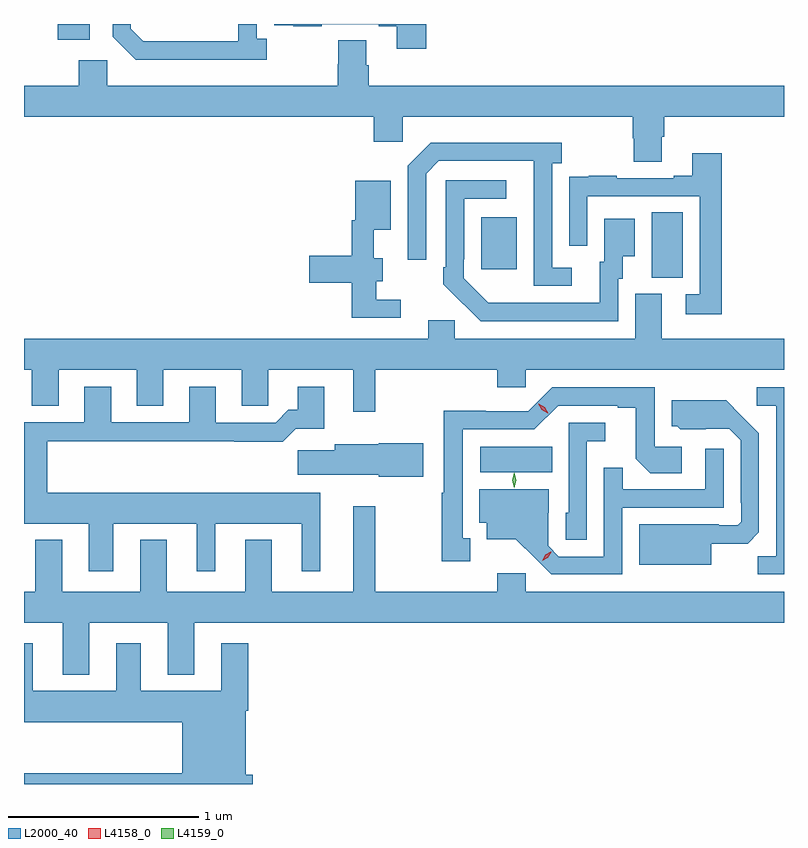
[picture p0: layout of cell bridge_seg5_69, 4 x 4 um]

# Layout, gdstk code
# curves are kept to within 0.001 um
import gdstk
lib = gdstk.Library(unit=1e-6, precision=1e-09)
def R(c, l, rs):  # rectangles x0, y0, x1, y1
    for r in rs: c.add(gdstk.rectangle(r[:2], r[2:], *l))
def P(c, l, *ps):  # polygons
    for p in ps: c.add(gdstk.Polygon(p, *l))
L2000_40 = (2000, 40)
L4158_0 = (4158, 0)
L4159_0 = (4159, 0)

bridge_seg5_69 = lib.new_cell('bridge_seg5_69')
R(bridge_seg5_69, L2000_40, [(144.258,904.172,144.638,904.306), (145.16,905.197,145.324,905.54), (144.263,905.241,144.451,905.515), (142.034,906.45,142.204,906.532)])
P(bridge_seg5_69, L2000_40, [(143.134,906.454),(143.082,906.454),(143.082,906.532),(142.985,906.532),(142.985,906.441),(142.485,906.441),(142.419,906.507),(142.419,906.532),(142.323,906.532),(142.323,906.465),(142.444,906.344),(143.134,906.344)],
  [(143.975,906.532),(143.173,906.532),(143.173,906.525),(143.275,906.525),(143.275,906.519),(143.423,906.519),(143.423,906.531),(143.723,906.531),(143.723,906.519),(143.819,906.519),(143.819,906.402),(143.975,906.402)],
  [(145.213,905.938),(145.226,905.938),(145.226,906.044),(145.857,906.044),(145.857,906.208),(143.672,906.208),(143.672,906.314),(143.659,906.314),(143.659,906.446),(143.512,906.446),(143.512,906.321),(143.507,906.321),(143.507,906.208),(142.296,906.208),(142.296,906.34),(142.145,906.34),(142.145,906.208),(141.857,906.208),(141.857,906.044),(143.699,906.044),(143.699,905.913),(143.85,905.913),(143.85,906.044),(145.061,906.044),(145.061,905.931),(145.066,905.931),(145.066,905.806),(145.213,905.806)],
  [(144.739,905.25),(144.636,905.25),(144.636,905.798),(144.688,905.798),(144.688,905.908),(143.998,905.908),(143.877,905.787),(143.877,905.292),(143.973,905.292),(143.973,905.745),(144.039,905.811),(144.539,905.811),(144.54,905.154),(144.739,905.154)],
  [(145.529,905.851),(145.373,905.851),(145.373,905.734),(145.277,905.734),(145.277,905.721),(144.977,905.721),(144.977,905.734),(144.829,905.734),(144.829,905.727),(144.727,905.727),(144.727,905.618),(144.726,905.618),(144.726,905.364),(144.822,905.364),(144.822,905.625),(145.413,905.625),(145.413,905.109),(145.341,905.109),(145.341,905.004),(145.529,905.004)],
  [(144.984,905.19),(145.009,905.19),(145.009,905.309),(145.072,905.309),(145.072,905.506),(144.911,905.506),(144.911,905.28),(144.887,905.28),(144.887,905.064),(144.3,905.065),(144.171,905.193),(144.171,905.293),(144.174,905.293),(144.174,905.613),(144.394,905.613),(144.394,905.709),(144.078,905.709),(144.078,905.251),(144.063,905.251),(144.063,905.163),(144.26,904.968),(144.984,904.968)],
  [(143.839,905.082),(143.71,905.082),(143.71,905.177),(143.746,905.177),(143.746,905.299),(143.699,905.299),(143.699,905.45),(143.788,905.45),(143.788,905.707),(143.6,905.707),(143.6,905.499),(143.581,905.499),(143.581,905.312),(143.358,905.312),(143.358,905.17),(143.581,905.17),(143.581,904.986),(143.839,904.986)],
  [(143.705,904.712),(144.347,904.712),(144.347,904.619),(144.498,904.619),(144.498,904.712),(145.857,904.712),(145.857,904.876),(145.213,904.876),(145.213,905.112),(145.073,905.112),(145.073,904.876),(144.123,904.876),(144.123,904.974),(143.984,904.974),(143.984,904.876),(141.857,904.876),(141.857,904.712),(141.899,904.712),(141.899,904.522),(142.039,904.522),(142.039,904.712),(142.451,904.712),(142.451,904.522),(142.591,904.522),(142.591,904.712),(143.003,904.712),(143.003,904.522),(143.142,904.522),(143.142,904.712),(143.591,904.712),(143.591,904.491),(143.705,904.491)],
  [(142.327,903.902),(142.766,903.902),(142.766,903.651),(142.864,903.651),(142.864,903.902),(143.318,903.902),(143.318,903.651),(143.416,903.651),(143.416,904.066),(141.979,904.066),(141.979,904.336),(142.963,904.336),(142.963,904.334),(143.219,904.334),(143.288,904.403),(143.437,904.403),(143.437,904.624),(143.297,904.624),(143.297,904.501),(143.248,904.501),(143.181,904.434),(142.867,904.434),(142.867,904.624),(142.727,904.624),(142.727,904.437),(142.315,904.437),(142.315,904.624),(142.175,904.624),(142.175,904.437),(141.857,904.437),(141.857,903.902),(142.199,903.902),(142.199,903.651),(142.327,903.651)],
  [(145.857,904.62),(145.713,904.62),(145.713,904.524),(145.815,904.524),(145.815,903.731),(145.72,903.731),(145.72,903.636),(145.857,903.636)],
  [(144.205,903.825),(144.166,903.825),(144.166,904.398),(144.543,904.398),(144.669,904.524),(144.983,904.524),(144.983,904.512),(145.077,904.512),(145.077,904.244),(145.153,904.168),(145.318,904.168),(145.318,904.308),(145.176,904.308),(145.176,904.62),(144.636,904.62),(144.51,904.494),(144.288,904.494),(144.288,904.496),(144.065,904.496),(144.065,904.064),(144.055,904.064),(144.055,903.705),(144.205,903.705)],
  [(145.474,903.797),(145.666,903.797),(145.725,903.856),(145.725,904.378),(145.553,904.552),(145.265,904.552),(145.265,904.416),(145.296,904.416),(145.312,904.4),(145.569,904.401),(145.629,904.341),(145.629,904.012),(145.632,904.012),(145.632,903.912),(145.614,903.894),(145.514,903.894),(145.514,903.898),(145.094,903.898),(145.094,903.686),(145.474,903.686)],
  [(144.819,904.337),(144.916,904.337),(144.916,904.434),(144.723,904.434),(144.723,903.96),(144.708,903.96),(144.708,903.817),(144.819,903.817)],
  [(143.959,904.326),(143.724,904.326),(143.724,904.321),(143.492,904.321),(143.492,904.289),(143.298,904.289),(143.298,904.16),(143.724,904.16),(143.724,904.148),(143.959,904.148)],
  [(145.005,903.987),(145.539,903.987),(145.539,904.297),(145.443,904.297),(145.443,904.083),(145.007,904.083),(145.007,904.196),(144.909,904.196),(144.909,903.729),(144.672,903.729),(144.615,903.786),(144.615,903.96),(144.619,903.96),(144.619,904.084),(144.254,904.084),(144.254,903.908),(144.293,903.908),(144.293,903.821),(144.445,903.821),(144.632,903.636),(145.005,903.636)],
  [(145.857,903.544),(144.498,903.544),(144.498,903.64),(144.347,903.64),(144.347,903.544),(143.705,903.544),(143.705,903.994),(143.591,903.994),(143.591,903.544),(143.161,903.544),(143.161,903.817),(143.021,903.817),(143.021,903.544),(142.609,903.544),(142.609,903.817),(142.469,903.817),(142.469,903.544),(142.057,903.544),(142.057,903.817),(141.917,903.817),(141.917,903.544),(141.857,903.544),(141.857,903.38),(142.061,903.38),(142.061,903.107),(142.201,903.107),(142.201,903.38),(142.613,903.38),(142.613,903.107),(142.753,903.107),(142.753,903.38),(145.857,903.38)],
  [(143.06,902.58),(143.023,902.58),(143.023,902.918),(143.036,902.918),(143.036,903.274),(142.895,903.274),(142.895,903.022),(142.471,903.022),(142.471,903.274),(142.343,903.274),(142.343,903.022),(141.904,903.022),(141.904,903.274),(141.857,903.274),(141.857,902.858),(142.691,902.858),(142.691,902.588),(141.857,902.588),(141.857,902.532),(143.06,902.532)])
P(bridge_seg5_69, L4158_0, [(144.614,904.483),(144.582,904.502),(144.564,904.534),(144.564,904.534),(144.565,904.534),(144.597,904.515),(144.615,904.483),(144.615,904.483)],
  [(144.584,903.708),(144.584,903.708),(144.6,903.738),(144.63,903.754),(144.631,903.754),(144.631,903.753),(144.614,903.724),(144.584,903.708)])
P(bridge_seg5_69, L4159_0, [(144.438,904.091),(144.438,904.091),(144.428,904.13),(144.438,904.169),(144.438,904.169),(144.438,904.169),(144.448,904.13),(144.438,904.091)])

lib.write_gds('bridge_seg5_69.gds')
